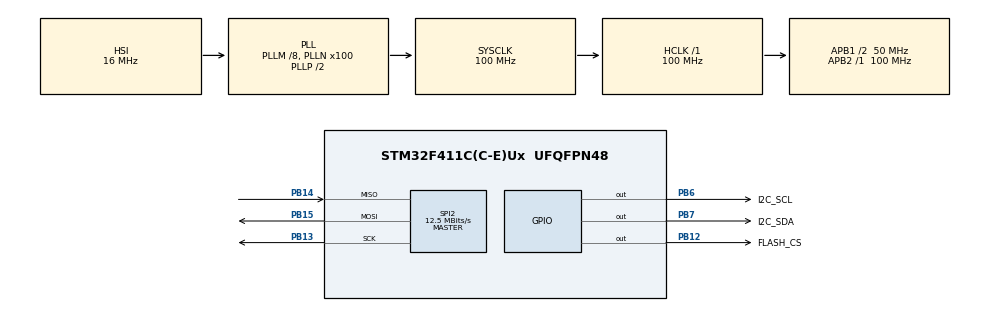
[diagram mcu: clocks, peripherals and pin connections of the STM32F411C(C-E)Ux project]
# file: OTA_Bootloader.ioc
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Mcu.Family=STM32F4
Mcu.Name=STM32F411C(C-E)Ux
Mcu.Package=UFQFPN48
NVIC.PriorityGroup=NVIC_PRIORITYGROUP_4
PB12.GPIO_Label=FLASH_CS
PB12.GPIO_Speed=GPIO_SPEED_FREQ_MEDIUM
PB12.PinState=GPIO_PIN_SET
PB12.Signal=GPIO_Output
PB13.Mode=Full_Duplex_Master
PB13.Signal=SPI2_SCK
PB14.Mode=Full_Duplex_Master
PB14.Signal=SPI2_MISO
PB15.Mode=Full_Duplex_Master
PB15.Signal=SPI2_MOSI
PB6.GPIO_Label=I2C_SCL
PB6.GPIO_ModeDefaultOutputPP=GPIO_MODE_OUTPUT_OD
PB6.GPIO_PuPd=GPIO_NOPULL
PB6.PinState=GPIO_PIN_SET
PB6.Signal=GPIO_Output
PB7.GPIO_Label=I2C_SDA
PB7.GPIO_ModeDefaultOutputPP=GPIO_MODE_OUTPUT_OD
PB7.GPIO_PuPd=GPIO_NOPULL
PB7.PinState=GPIO_PIN_SET
PB7.Signal=GPIO_Output
PC14-OSC32_IN.Mode=LSE-External-Oscillator
PC14-OSC32_IN.Signal=RCC_OSC32_IN
PC15-OSC32_OUT.Mode=LSE-External-Oscillator
PC15-OSC32_OUT.Signal=RCC_OSC32_OUT
PH0\ -\ OSC_IN.Mode=HSE-External-Oscillator
PH0\ -\ OSC_IN.Signal=RCC_OSC_IN
PH1\ -\ OSC_OUT.Mode=HSE-External-Oscillator
PH1\ -\ OSC_OUT.Signal=RCC_OSC_OUT
ProjectManager.HeapSize=0x200
ProjectManager.StackSize=0x400
ProjectManager.TargetToolchain=MDK-ARM V5.32
RCC.48MHZClocksFreq_Value=50000000
RCC.AHBFreq_Value=100000000
RCC.APB1CLKDivider=RCC_HCLK_DIV2
RCC.APB1Freq_Value=50000000
RCC.APB1TimFreq_Value=100000000
RCC.APB2Freq_Value=100000000
RCC.APB2TimFreq_Value=100000000
RCC.CortexFreq_Value=100000000
RCC.HCLKFreq_Value=100000000
RCC.HSE_VALUE=25000000
RCC.HSI_VALUE=16000000
RCC.PLLM=8
RCC.PLLN=100
RCC.SYSCLKFreq_VALUE=100000000
RCC.SYSCLKSource=RCC_SYSCLKSOURCE_PLLCLK
RCC.VCOOutputFreq_Value=200000000
SPI2.BaudRatePrescaler=SPI_BAUDRATEPRESCALER_4
SPI2.CalculateBaudRate=12.5 MBits/s
SPI2.Direction=SPI_DIRECTION_2LINES
SPI2.Mode=SPI_MODE_MASTER
SPI2.VirtualType=VM_MASTER
board=custom

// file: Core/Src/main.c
/* USER CODE BEGIN Header */
/**
  ******************************************************************************
  * @file           : main.c
  * @brief          : Main program body
  ******************************************************************************
  * @attention
  *
  * Copyright (c) 2026 STMicroelectronics.
  * All rights reserved.
  *
  * This software is licensed under terms that can be found in the LICENSE file
  * in the root directory of this software component.
  * If no LICENSE file comes with this software, it is provided AS-IS.
  *
  ******************************************************************************
  */
/* USER CODE END Header */
#include "main.h"

/* USER CODE BEGIN Includes */
#include "gpio.h"
#include "boot_main.h"
#include "boot_log.h"
#include "cmbacktrace_port.h"
#include "diagnostics_fault.h"
#include "spi.h"

/* USER CODE END Includes */

void SystemClock_Config(void);

int main(void)
{

  /* MCU Configuration--------------------------------------------------------*/

  /* Reset of all peripherals, Initializes the Flash interface and the Systick. */
  HAL_Init();

  /* Configure the generated HAL clock before entering Bootloader logic. */
  SystemClock_Config();

  /* USER CODE BEGIN SysInit */

  /* S09 storage buses must be ready before boot_main binds external devices. */
  MX_GPIO_Init();
  MX_SPI2_Init();

  /* USER CODE END SysInit */

  /* USER CODE BEGIN 2 */
  boot_log_init();
  cmbacktrace_port_init();
  diagnostics_fault_init();

#if (DIAG_FAULT_TEST_ENABLE != 0U)
  diagnostics_fault_trigger((diagnostics_fault_type_t)DIAG_FAULT_TEST_TYPE);
#endif

  boot_main_run();

  /* USER CODE END 2 */

  /* Infinite loop */
  while (1)
  {

  }
}

void SystemClock_Config(void)
{
  RCC_OscInitTypeDef RCC_OscInitStruct = {0};
  RCC_ClkInitTypeDef RCC_ClkInitStruct = {0};

  /** Configure the main internal regulator output voltage
  */
  __HAL_RCC_PWR_CLK_ENABLE();
  __HAL_PWR_VOLTAGESCALING_CONFIG(PWR_REGULATOR_VOLTAGE_SCALE1);

  /** Initializes the RCC Oscillators according to the specified parameters
  * in the RCC_OscInitTypeDef structure.
  */
  RCC_OscInitStruct.OscillatorType = RCC_OSCILLATORTYPE_HSI;
  RCC_OscInitStruct.HSIState = RCC_HSI_ON;
  RCC_OscInitStruct.HSICalibrationValue = RCC_HSICALIBRATION_DEFAULT;
  RCC_OscInitStruct.PLL.PLLState = RCC_PLL_ON;
  RCC_OscInitStruct.PLL.PLLSource = RCC_PLLSOURCE_HSI;
  RCC_OscInitStruct.PLL.PLLM = 8;
  RCC_OscInitStruct.PLL.PLLN = 100;
  RCC_OscInitStruct.PLL.PLLP = RCC_PLLP_DIV2;
  RCC_OscInitStruct.PLL.PLLQ = 4;
  if (HAL_RCC_OscConfig(&RCC_OscInitStruct) != HAL_OK)
  {
    Error_Handler();
  }

  /** Initializes the CPU, AHB and APB buses clocks
  */
  RCC_ClkInitStruct.ClockType = RCC_CLOCKTYPE_HCLK|RCC_CLOCKTYPE_SYSCLK
                              |RCC_CLOCKTYPE_PCLK1|RCC_CLOCKTYPE_PCLK2;
  RCC_ClkInitStruct.SYSCLKSource = RCC_SYSCLKSOURCE_PLLCLK;
  RCC_ClkInitStruct.AHBCLKDivider = RCC_SYSCLK_DIV1;
  RCC_ClkInitStruct.APB1CLKDivider = RCC_HCLK_DIV2;
  RCC_ClkInitStruct.APB2CLKDivider = RCC_HCLK_DIV1;

  if (HAL_RCC_ClockConfig(&RCC_ClkInitStruct, FLASH_LATENCY_3) != HAL_OK)
  {
    Error_Handler();
  }
}

void Error_Handler(void)
{
  __disable_irq();
  while (1)
  {
  }
}
